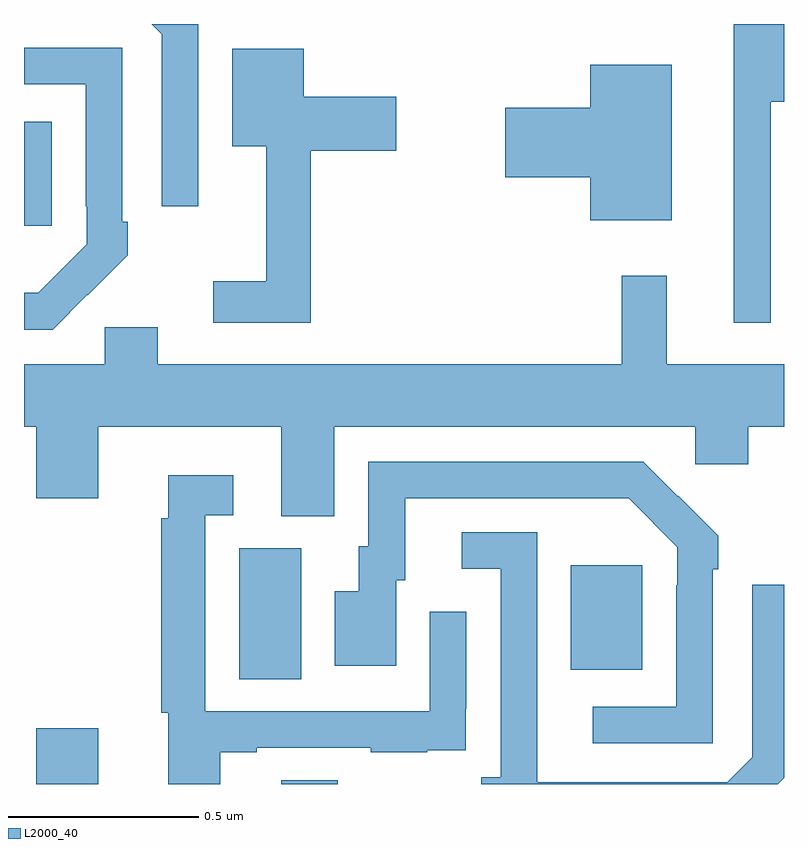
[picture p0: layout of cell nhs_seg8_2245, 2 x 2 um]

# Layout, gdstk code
import gdstk
lib = gdstk.Library(unit=1e-6, precision=1e-09)
def R(c, l, rs):  # rectangles x0, y0, x1, y1
    for r in rs: c.add(gdstk.rectangle(r[:2], r[2:], *l))
def P(c, l, *ps):  # polygons
    for p in ps: c.add(gdstk.Polygon(p, *l))
L2000_40 = (2000, 40)

nhs_seg8_2245 = lib.new_cell('nhs_seg8_2245')
R(nhs_seg8_2245, L2000_40, [(141.032,1108.9,141.196,1109.047), (141.677,1108.9,141.825,1108.91), (141.566,1109.176,141.73,1109.52), (142.439,1109.201,142.627,1109.476), (141,1110.369,141.073,1110.643)])
P(nhs_seg8_2245, L2000_40, [(142.965,1110.695),(143,1110.695),(143,1110.9),(142.868,1110.9),(142.868,1110.114),(142.965,1110.114)],
  [(141.459,1110.9),(141.336,1110.9),(141.363,1110.873),(141.363,1110.42),(141.459,1110.42)],
  [(141.167,1110.187),(141.168,1110.186),(141.273,1110.291),(141.273,1110.379),(141.258,1110.379),(141.258,1110.837),(141,1110.837),(141,1110.741),(141.162,1110.741),(141.162,1110.421),(141.165,1110.421),(141.165,1110.321),(141.037,1110.193),(141,1110.193),(141,1110.096),(141.076,1110.096)],
  [(141.755,1110.566),(141.979,1110.566),(141.979,1110.708),(141.736,1110.708),(141.736,1110.835),(141.548,1110.835),(141.548,1110.578),(141.638,1110.578),(141.638,1110.223),(141.498,1110.223),(141.498,1110.114),(141.755,1110.114)],
  [(142.705,1110.793),(142.49,1110.793),(142.49,1110.68),(142.266,1110.68),(142.266,1110.497),(142.49,1110.497),(142.49,1110.383),(142.705,1110.383)],
  [(141.817,1109.84),(142.767,1109.84),(142.767,1109.742),(142.906,1109.742),(142.906,1109.84),(143,1109.84),(143,1110.004),(142.691,1110.004),(142.691,1110.238),(142.573,1110.238),(142.573,1110.004),(141.352,1110.004),(141.352,1110.102),(141.213,1110.102),(141.213,1110.004),(141,1110.004),(141,1109.84),(141.032,1109.84),(141.032,1109.652),(141.196,1109.652),(141.196,1109.84),(141.677,1109.84),(141.677,1109.605),(141.817,1109.605)],
  [(142.812,1109.465),(142.827,1109.465),(142.827,1109.553),(142.722,1109.658),(142.721,1109.657),(142.63,1109.748),(141.906,1109.748),(141.906,1109.526),(141.881,1109.526),(141.881,1109.407),(141.818,1109.407),(141.818,1109.211),(141.979,1109.211),(141.979,1109.436),(142.003,1109.436),(142.003,1109.652),(142.591,1109.652),(142.719,1109.523),(142.719,1109.423),(142.716,1109.423),(142.716,1109.103),(142.497,1109.103),(142.497,1109.007),(142.812,1109.007)],
  [(141.517,1108.983),(141.613,1108.983),(141.613,1108.995),(141.913,1108.995),(141.913,1108.983),(142.061,1108.983),(142.061,1108.989),(142.163,1108.989),(142.163,1109.098),(142.164,1109.098),(142.164,1109.353),(142.068,1109.353),(142.068,1109.091),(141.477,1109.091),(141.477,1109.607),(141.55,1109.607),(141.55,1109.713),(141.38,1109.713),(141.38,1109.6),(141.361,1109.6),(141.361,1109.088),(141.38,1109.088),(141.38,1108.9),(141.517,1108.9)],
  [(143,1108.916),(143,1109.425),(142.917,1109.425),(142.917,1108.971),(142.851,1108.905),(142.351,1108.905),(142.351,1109.105),(142.35,1109.105),(142.35,1109.562),(142.152,1109.562),(142.152,1109.466),(142.254,1109.466),(142.254,1108.918),(142.203,1108.918),(142.203,1108.9),(142.984,1108.9)])

lib.write_gds('nhs_seg8_2245.gds')
